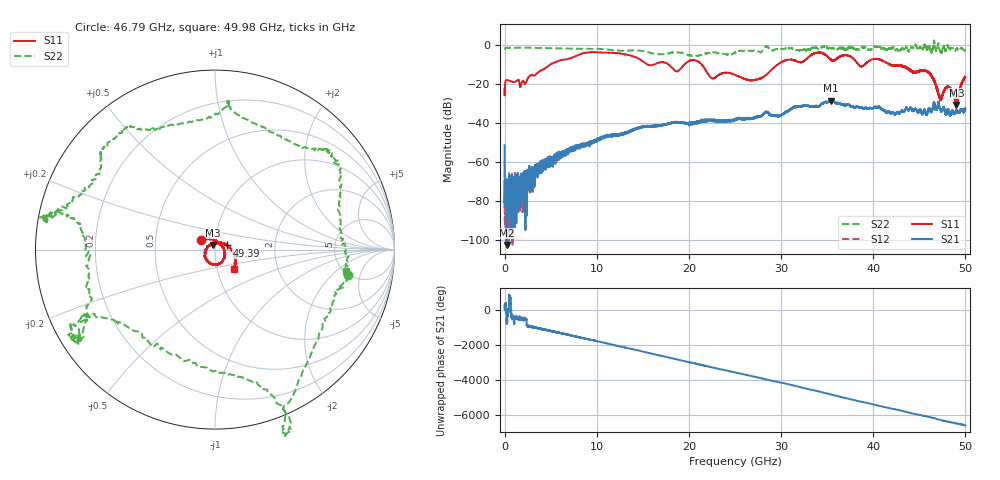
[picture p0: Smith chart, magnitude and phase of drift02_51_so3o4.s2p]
!Created with skrf (http://scikit-rf.org).
# Hz S RI R 50.0
!freq ReS11 ImS11 ReS21 ImS21 ReS12 ImS12 ReS22 ImS22
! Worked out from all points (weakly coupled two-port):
!   10001 points, 300 kHz to 50 GHz, reference 50 ohm
!   highest |S21| = -28.48 dB at 35.44 GHz (marker M1); lowest = -102.5 dB at 210.3 MHz (marker M2)
!   lowest |S11| = -30.7 dB at 49.02 GHz (marker M3), VSWR 1.06, Z = 48.7 + j2.58 ohm
!   |S11| at or under -10 dB: start of sweep to 4.956 GHz; 21.38 GHz to 29.63 GHz (8.254 GHz wide, 32.4 % of centre); 41.82 GHz to end of sweep (the widest 3 of 10)
!   |S22| runs from -5.7 to 2.3 dB; largest |S21 - S12| = 0.004
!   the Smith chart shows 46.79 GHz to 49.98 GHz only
!   S11 on the Smith chart (normalised r, x): 46.79 GHz: 0.85, +0.09; 49.39 GHz: 1.15, +0.05; 49.98 GHz: 1.20, -0.27
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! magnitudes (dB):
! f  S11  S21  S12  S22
! 300 kHz  -22.3  -51.4  -58.7  -2.0
! 210.3 MHz  -17.9  -102.5  -74.2  -1.4
! 1.875 GHz  -19.0  -66.6  -79.1  -1.3
! 3.695 GHz  -13.8  -61.6  -63.4  -1.5
! 8.335 GHz  -4.5  -51.5  -51.7  -1.9
! 16.67 GHz  -9.1  -41.4  -41.5  -4.7
! 18.7 GHz  -13.5  -39.4  -39.5  -3.7
! 20.6 GHz  -7.7  -40.0  -40.1  -5.7
! 22.5 GHz  -17.1  -39.1  -38.9  -3.7
! 25 GHz  -15.2  -38.2  -38.2  -3.9
! 27.5 GHz  -17.5  -36.5  -36.8  -3.3
! 33.34 GHz  -4.9  -31.4  -31.3  -1.6
! 35.44 GHz  -7.3  -28.5  -28.7  -1.6
! 41.67 GHz  -9.6  -34.0  -34.3  -1.9
! 45.78 GHz  -13.4  -35.5  -35.5  -2.0
! 46.79 GHz  -20.5  -33.0  -33.2  -2.4
! 47.28 GHz  -27.4  -33.0  -32.9  -3.3
! 48.14 GHz  -21.6  -33.4  -33.3  -0.8
! 49.02 GHz  -30.7  -33.7  -33.8  -2.0
! 49.39 GHz  -22.8  -34.8  -33.9  -2.5
! 49.98 GHz  -16.4  -33.0  -32.5  -2.6
! 50 GHz  -16.4  -33.1  -33.2  -2.7
